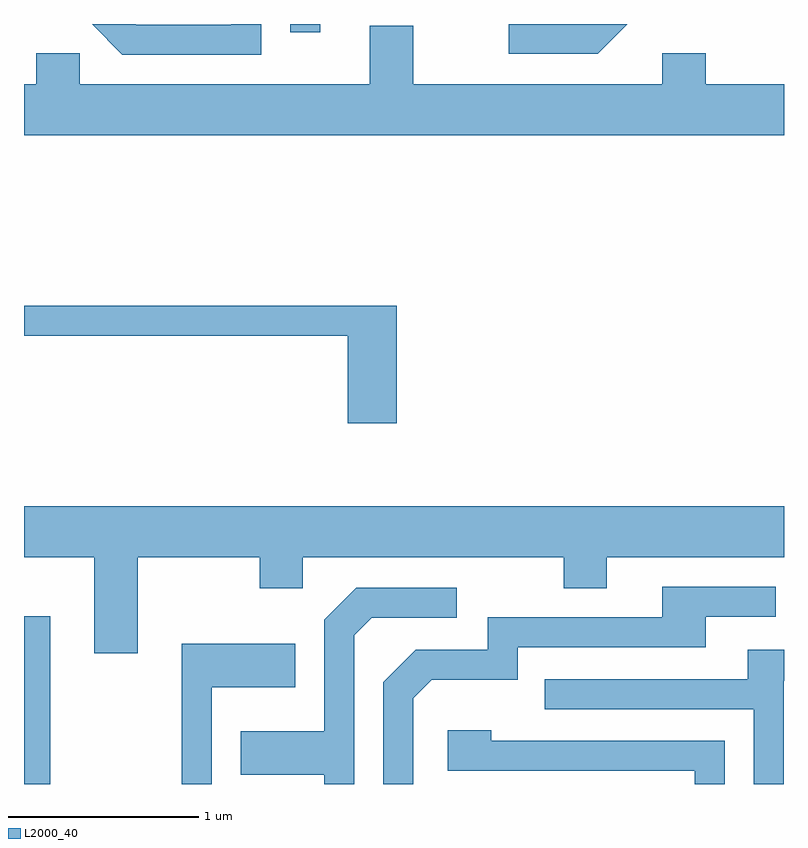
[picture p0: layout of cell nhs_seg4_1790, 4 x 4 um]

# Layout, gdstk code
import gdstk
lib = gdstk.Library(unit=1e-6, precision=1e-09)
def R(c, l, rs):  # rectangles x0, y0, x1, y1
    for r in rs: c.add(gdstk.rectangle(r[:2], r[2:], *l))
def P(c, l, *ps):  # polygons
    for p in ps: c.add(gdstk.Polygon(p, *l))
L2000_40 = (2000, 40)

nhs_seg4_1790 = lib.new_cell('nhs_seg4_1790')
R(nhs_seg4_1790, L2000_40, [(237.611,1297.982,237.749,1298.864), (239.011,1301.938,239.169,1301.982)])
P(nhs_seg4_1790, L2000_40, [(240.787,1301.982),(240.163,1301.982),(240.163,1301.826),(240.632,1301.826)],
  [(238.859,1301.982),(238.701,1301.982),(238.701,1301.979),(238.202,1301.979),(238.199,1301.982),(237.611,1301.982),(237.611,1301.981),(237.969,1301.981),(238.129,1301.821),(238.859,1301.821)],
  [(239.431,1301.974),(239.431,1301.664),(237.904,1301.664),(237.904,1301.829),(237.676,1301.829),(237.676,1301.664),(237.611,1301.664),(237.611,1301.396),(241.611,1301.396),(241.611,1301.664),(241.199,1301.664),(241.199,1301.829),(240.971,1301.829),(240.971,1301.664),(239.659,1301.664),(239.659,1301.974)],
  [(239.574,1300.499),(237.611,1300.499),(237.611,1300.341),(239.316,1300.341),(239.316,1299.881),(239.574,1299.881)],
  [(238.209,1299.176),(238.851,1299.176),(238.851,1299.011),(239.079,1299.011),(239.079,1299.176),(240.451,1299.176),(240.451,1299.011),(240.679,1299.011),(240.679,1299.176),(241.611,1299.176),(241.611,1299.444),(237.611,1299.444),(237.611,1299.176),(237.981,1299.176),(237.981,1298.671),(238.209,1298.671)],
  [(239.659,1298.434),(239.757,1298.531),(240.209,1298.531),(240.209,1298.701),(241.199,1298.701),(241.199,1298.861),(241.568,1298.861),(241.568,1299.019),(240.971,1299.019),(240.971,1298.859),(240.051,1298.859),(240.051,1298.689),(239.674,1298.689),(239.501,1298.517),(239.501,1297.982),(239.659,1297.982)],
  [(239.349,1298.764),(239.442,1298.856),(239.888,1298.856),(239.888,1299.014),(239.359,1299.014),(239.191,1298.847),(239.191,1298.259),(238.751,1298.259),(238.751,1298.031),(239.191,1298.031),(239.191,1297.982),(239.349,1297.982)],
  [(238.599,1298.491),(239.039,1298.491),(239.039,1298.719),(238.441,1298.719),(238.441,1297.982),(238.599,1297.982)],
  [(241.609,1298.526),(241.611,1298.526),(241.611,1298.689),(241.421,1298.689),(241.421,1298.534),(240.353,1298.534),(240.353,1298.376),(241.451,1298.376),(241.451,1297.982),(241.609,1297.982)],
  [(241.299,1298.209),(240.069,1298.209),(240.069,1298.264),(239.841,1298.264),(239.841,1298.051),(241.141,1298.051),(241.141,1297.982),(241.299,1297.982)])

lib.write_gds('nhs_seg4_1790.gds')
